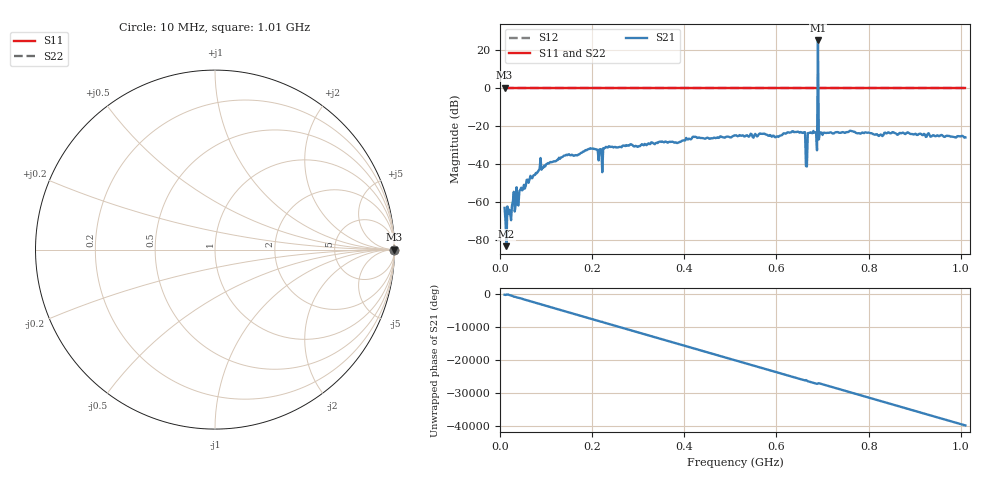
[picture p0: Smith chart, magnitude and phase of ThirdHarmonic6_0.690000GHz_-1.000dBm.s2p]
! 8/15/2025 11:03:05 PM
! C:\ANRITSUVNA\TEMP\TEMP.S2P
! CHANNEL.1
! TR.MEASUREMENT
! RAW.DATA
! RF.CORRECTION.OFF
! AVERAGING.OFF
! IF.BANDWIDTH: 5KHZ
! SWEEPTYPE:  FREQ.SWEEP(Linear)
! Reference Plane Port Info
! PORT:  PORT1  PORT2
! DISTANCE:  0  m  0  m
! TIME:  0  s  0  s
! PHASE.OFFSET:  0  deg.  0  deg.
! LOSS:  0  dB  0  dB
! REF.LOSS:  0  dB  0  dB
! REF.FREQ:  0  Hz  0  Hz
! Power Info
! POWER:  -20  dBm  -20  dBm
! EFF.POWER:  -20  dBm  -20  dBm
! SOURCE.ATTEN:  0  dB  0  dB
! TEST.ATTEN:  0  dB  0  dB
# GHZ S RI R 50.0
! FREQ.GHZ  S11RE  S11IM  S21RE  S21IM  S12RE  S12IM  S22RE  S22IM
!; PortSelection: Port_12
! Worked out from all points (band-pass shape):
!   501 points, 10 MHz to 1.01 GHz, reference 50 ohm
!   highest |S21| = 24.79 dB at 690 MHz (marker M1); lowest = -83.1 dB at 14 MHz (marker M2)
!   |S21| within 3 dB of the highest: 689.8959 MHz to 690.1156 MHz (219.7 kHz wide, 0.0318 % of centre)
!   lowest |S11| = 0.0 dB at 10 MHz (marker M3)
!   |S11| at or under -10 dB: nowhere
!   |S22| runs from 0.0 to 0.0 dB; largest |S21 - S12| = 18
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0.01  1 0  -0.00043 -0.00056  1 0  1 0
0.014  1 0  6e-07 -7e-05  1 0  1 0
0.032  1 0  0.000475 -0.000312  1 0  1 0
0.084  1 0  0.00566 0.00373  1 0  1 0
0.178  1 0  -0.0197 -0.00257  1 0  1 0
0.206  1 0  -0.0145 0.0201  1 0  1 0
0.218  1 0  0.0243 0.00256  1 0  1 0
0.234  1 0  0.00439 0.0267  1 0  1 0
0.344  1 0  0.0339 -0.0158  1 0  1 0
0.51  1 0  -0.0343 0.0443  1 0  1 0
0.658  1 0  0.0104 -0.0645  1 0  1 0
0.662  1 0  -0.0289 0.0613  1 0  1 0
0.668  1 0  -0.0377 -0.0526  1 0  1 0
0.672  1 0  0.0193 0.0633  1 0  1 0
0.678  1 0  -0.0633 -0.0119  1 0  1 0
0.684  1 0  0.0422 -0.0535  1 0  1 0
0.686  1 0  -0.0434 -0.0516  1 0  1 0
0.69  1 0  -9.209 -14.72  1 0  1 0
0.694  1 0  -0.00967 -0.0667  1 0  1 0
0.696  1 0  -0.0678 -0.000923  1 0  1 0
0.844  1 0  0.0591 -0.0315  1 0  1 0
1.01  1 0  -0.0203 0.0454  1 0  1 0
